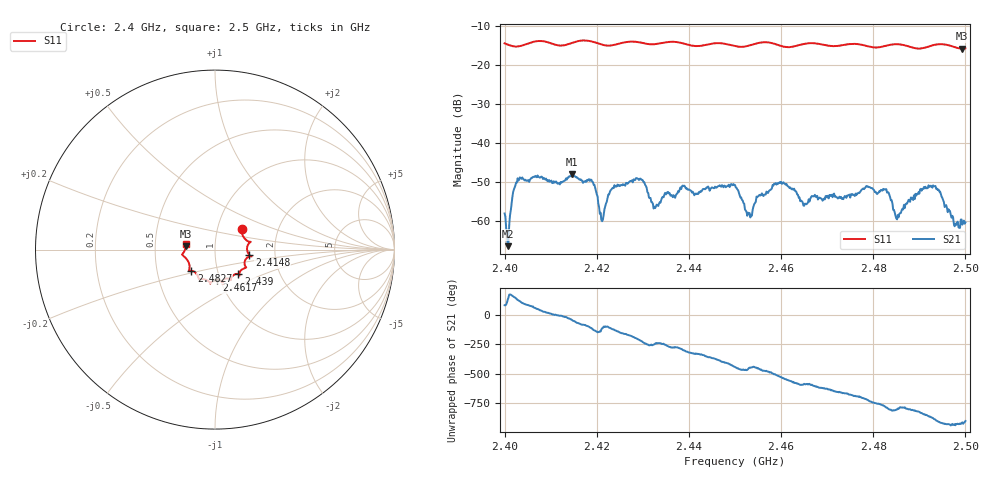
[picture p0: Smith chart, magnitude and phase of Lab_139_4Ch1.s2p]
# Hz S RI R 50
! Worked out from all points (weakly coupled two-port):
!   601 points, 2.4 GHz to 2.5 GHz, reference 50 ohm
!   highest |S21| = -47.85 dB at 2.4147 GHz (marker M1); lowest = -66.3 dB at 2.4007 GHz (marker M2)
!   lowest |S11| = -15.8 dB at 2.4993 GHz (marker M3), VSWR 1.39, Z = 36 + j1.41 ohm
!   |S11| at or under -10 dB: start of sweep to end of sweep
!   S12 and S22 are empty: the file has one direction only
!   S11 on the Smith chart (normalised r, x): 2.4 GHz: 1.31, +0.31; 2.4148 GHz: 1.47, -0.09; 2.439 GHz: 1.24, -0.35; 2.4617 GHz: 0.96, -0.34; 2.4827 GHz: 0.75, -0.18; 2.5 GHz: 0.72, +0.05
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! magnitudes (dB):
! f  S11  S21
! 2.4 GHz  -14.4  -58.0
! 2.4007 GHz  -14.7  -66.3
! 2.403 GHz  -15.2  -49.6
! 2.4147 GHz  -14.3  -47.9
! 2.4148 GHz  -14.2  -48.6
! 2.4167 GHz  -13.7  -49.5
! 2.4192 GHz  -14.0  -49.9
! 2.4212 GHz  -14.7  -60.0
! 2.4233 GHz  -14.9  -51.6
! 2.4285 GHz  -14.0  -48.9
! 2.4333 GHz  -14.5  -56.1
! 2.439 GHz  -14.5  -50.9
! 2.45 GHz  -15.1  -50.7
! 2.4532 GHz  -14.9  -57.9
! 2.4617 GHz  -15.4  -51.1
! 2.4667 GHz  -14.4  -53.5
! 2.4827 GHz  -15.1  -51.8
! 2.4833 GHz  -14.9  -52.6
! 2.4853 GHz  -14.6  -58.4
! 2.493 GHz  -14.9  -50.8
! 2.4993 GHz  -15.8  -60.8
! 2.5 GHz  -15.7  -60.3
